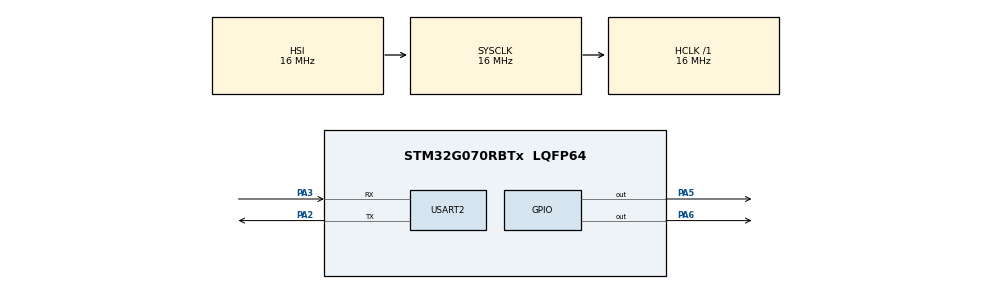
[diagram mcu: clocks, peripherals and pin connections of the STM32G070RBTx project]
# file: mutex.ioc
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Mcu.Family=STM32G0
Mcu.Name=STM32G070RBTx
Mcu.Package=LQFP64
NVIC.TIM3_IRQn=true\:3\:0\:false\:false\:true\:false\:true\:true
NVIC.TimeBase=TIM3_IRQn
NVIC.TimeBaseIP=TIM3
PA13.Mode=Serial_Wire
PA13.Signal=SYS_SWDIO
PA14-BOOT0.Mode=Serial_Wire
PA14-BOOT0.Signal=SYS_SWCLK
PA2.Mode=Asynchronous
PA2.Signal=USART2_TX
PA3.Mode=Asynchronous
PA3.Signal=USART2_RX
PA5.Signal=GPIO_Output
PA6.Signal=GPIO_Output
PC14-OSC32_IN\ (PC14).Mode=LSE-External-Oscillator
PC14-OSC32_IN\ (PC14).Signal=RCC_OSC32_IN
PC15-OSC32_OUT\ (PC15).Mode=LSE-External-Oscillator
PC15-OSC32_OUT\ (PC15).Signal=RCC_OSC32_OUT
PF0-OSC_IN\ (PF0).Mode=HSE-External-Clock-Source
PF0-OSC_IN\ (PF0).Signal=RCC_OSC_IN
ProjectManager.HeapSize=0x200
ProjectManager.StackSize=0x400
ProjectManager.TargetToolchain=STM32CubeIDE
RCC.AHBFreq_Value=16000000
RCC.CortexFreq_Value=16000000
RCC.EXTERNAL_CLOCK_VALUE=12288000
RCC.HCLKFreq_Value=16000000
RCC.HSE_VALUE=8000000
RCC.HSI_VALUE=16000000
RCC.SYSCLKFreq_VALUE=16000000
RCC.VCOOutputFreq_Value=128000000
USART2.VirtualMode-Asynchronous=VM_ASYNC
VP_SYS_VS_tim3.Mode=TIM3
board=NUCLEO-G070RB

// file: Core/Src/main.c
/* USER CODE BEGIN Header */
/**
  ******************************************************************************
  * @file           : main.c
  * @brief          : Main program body
  ******************************************************************************
  * @attention
  *
  * Copyright (c) 2023 STMicroelectronics.
  * All rights reserved.
  *
  * This software is licensed under terms that can be found in the LICENSE file
  * in the root directory of this software component.
  * If no LICENSE file comes with this software, it is provided AS-IS.
  *
  ******************************************************************************
  */
/* USER CODE END Header */
#include "main.h"

/* USER CODE BEGIN Includes */
#include "FreeRTOS.h"
#include "task.h"
#include "semphr.h"
#include "string.h"

/* USER CODE END Includes */

UART_HandleTypeDef huart2;

/* USER CODE BEGIN PV */
char sharedResource[10];
SemaphoreHandle_t mut;

/* USER CODE END PV */

void SystemClock_Config(void);
static void MX_GPIO_Init(void);
static void MX_USART2_UART_Init(void);

/* USER CODE BEGIN 0 */
static void task1(void *p)
{
	while(1)
	     {
		char* str   =   "Entered T1\r\n";
		        HAL_UART_Transmit(&huart2, str,  strlen (str),HAL_MAX_DELAY);
		if(xSemaphoreTake(mut,100000)==1)
		{
			int i;
			for(i=0;i<9;i++)
			{
				sharedResource[i]=*str;
				//vTaskDelay(50);
			}
			sharedResource[i]=0;
			char* str ="hello T1\r\n\n";
			          HAL_UART_Transmit(&huart2, str, strlen (str),HAL_MAX_DELAY);
                xSemaphoreGive(mut);

		}
			vTaskDelay(100);

	}

}
static void task2(void *p)
{
	while(1)
	     {
		char *str   =   "Entered T2\r\n";
		        HAL_UART_Transmit(&huart2,  str,  strlen (str),HAL_MAX_DELAY);
		if(xSemaphoreTake(mut,100000)==1)
		{
			int i;
			for(i=0;i<9;i++)
			{
				sharedResource[i]=*str;
				//vTaskDelay(50);
			}
			sharedResource[i]=0;
			char *str ="hello T2\r\n\n";
			          HAL_UART_Transmit(&huart2,str, strlen (str),HAL_MAX_DELAY);
               xSemaphoreGive(mut);

		}
			vTaskDelay(100);
	     }
	}

/* USER CODE END 0 */

int main(void)
{

  /* MCU Configuration--------------------------------------------------------*/

  /* Reset of all peripherals, Initializes the Flash interface and the Systick. */
  HAL_Init();

  /* Configure the system clock */
  SystemClock_Config();

  /* Initialize all configured peripherals */
  MX_GPIO_Init();
  MX_USART2_UART_Init();
  /* USER CODE BEGIN 2 */
  mut = xSemaphoreCreateMutex();

    xTaskCreate(task1,"T1",100,NULL,2,NULL);
    xTaskCreate(task2,"T2",100,NULL,2,NULL);

    vTaskStartScheduler();

  /* USER CODE END 2 */

  /* Infinite loop */
  while (1)
  {

  }
}

void SystemClock_Config(void)
{
  RCC_OscInitTypeDef RCC_OscInitStruct = {0};
  RCC_ClkInitTypeDef RCC_ClkInitStruct = {0};

  /** Configure the main internal regulator output voltage
  */
  HAL_PWREx_ControlVoltageScaling(PWR_REGULATOR_VOLTAGE_SCALE1);

  /** Initializes the RCC Oscillators according to the specified parameters
  * in the RCC_OscInitTypeDef structure.
  */
  RCC_OscInitStruct.OscillatorType = RCC_OSCILLATORTYPE_HSI;
  RCC_OscInitStruct.HSIState = RCC_HSI_ON;
  RCC_OscInitStruct.HSIDiv = RCC_HSI_DIV1;
  RCC_OscInitStruct.HSICalibrationValue = RCC_HSICALIBRATION_DEFAULT;
  RCC_OscInitStruct.PLL.PLLState = RCC_PLL_NONE;
  if (HAL_RCC_OscConfig(&RCC_OscInitStruct) != HAL_OK)
  {
    Error_Handler();
  }

  /** Initializes the CPU, AHB and APB buses clocks
  */
  RCC_ClkInitStruct.ClockType = RCC_CLOCKTYPE_HCLK|RCC_CLOCKTYPE_SYSCLK
                              |RCC_CLOCKTYPE_PCLK1;
  RCC_ClkInitStruct.SYSCLKSource = RCC_SYSCLKSOURCE_HSI;
  RCC_ClkInitStruct.AHBCLKDivider = RCC_SYSCLK_DIV1;
  RCC_ClkInitStruct.APB1CLKDivider = RCC_HCLK_DIV1;

  if (HAL_RCC_ClockConfig(&RCC_ClkInitStruct, FLASH_LATENCY_0) != HAL_OK)
  {
    Error_Handler();
  }
}

static void MX_USART2_UART_Init(void)
{

  huart2.Instance = USART2;
  huart2.Init.BaudRate = 115200;
  huart2.Init.WordLength = UART_WORDLENGTH_8B;
  huart2.Init.StopBits = UART_STOPBITS_1;
  huart2.Init.Parity = UART_PARITY_NONE;
  huart2.Init.Mode = UART_MODE_TX_RX;
  huart2.Init.HwFlowCtl = UART_HWCONTROL_NONE;
  huart2.Init.OverSampling = UART_OVERSAMPLING_16;
  huart2.Init.OneBitSampling = UART_ONE_BIT_SAMPLE_DISABLE;
  huart2.Init.ClockPrescaler = UART_PRESCALER_DIV1;
  huart2.AdvancedInit.AdvFeatureInit = UART_ADVFEATURE_NO_INIT;
  if (HAL_UART_Init(&huart2) != HAL_OK)
  {
    Error_Handler();
  }
  if (HAL_UARTEx_SetTxFifoThreshold(&huart2, UART_TXFIFO_THRESHOLD_1_8) != HAL_OK)
  {
    Error_Handler();
  }
  if (HAL_UARTEx_SetRxFifoThreshold(&huart2, UART_RXFIFO_THRESHOLD_1_8) != HAL_OK)
  {
    Error_Handler();
  }
  if (HAL_UARTEx_DisableFifoMode(&huart2) != HAL_OK)
  {
    Error_Handler();
  }

}

static void MX_GPIO_Init(void)
{
  GPIO_InitTypeDef GPIO_InitStruct = {0};

  /* GPIO Ports Clock Enable */
  __HAL_RCC_GPIOC_CLK_ENABLE();
  __HAL_RCC_GPIOF_CLK_ENABLE();
  __HAL_RCC_GPIOA_CLK_ENABLE();

  /*Configure GPIO pin Output Level */
  HAL_GPIO_WritePin(GPIOA, GPIO_PIN_5|GPIO_PIN_6, GPIO_PIN_RESET);

  /*Configure GPIO pins : PA5 PA6 */
  GPIO_InitStruct.Pin = GPIO_PIN_5|GPIO_PIN_6;
  GPIO_InitStruct.Mode = GPIO_MODE_OUTPUT_PP;
  GPIO_InitStruct.Pull = GPIO_NOPULL;
  GPIO_InitStruct.Speed = GPIO_SPEED_FREQ_LOW;
  HAL_GPIO_Init(GPIOA, &GPIO_InitStruct);

}

void HAL_TIM_PeriodElapsedCallback(TIM_HandleTypeDef *htim)
{
  if (htim->Instance == TIM3) {
    HAL_IncTick();
  }
}

void Error_Handler(void)
{
  __disable_irq();
  while (1)
  {
  }
}
